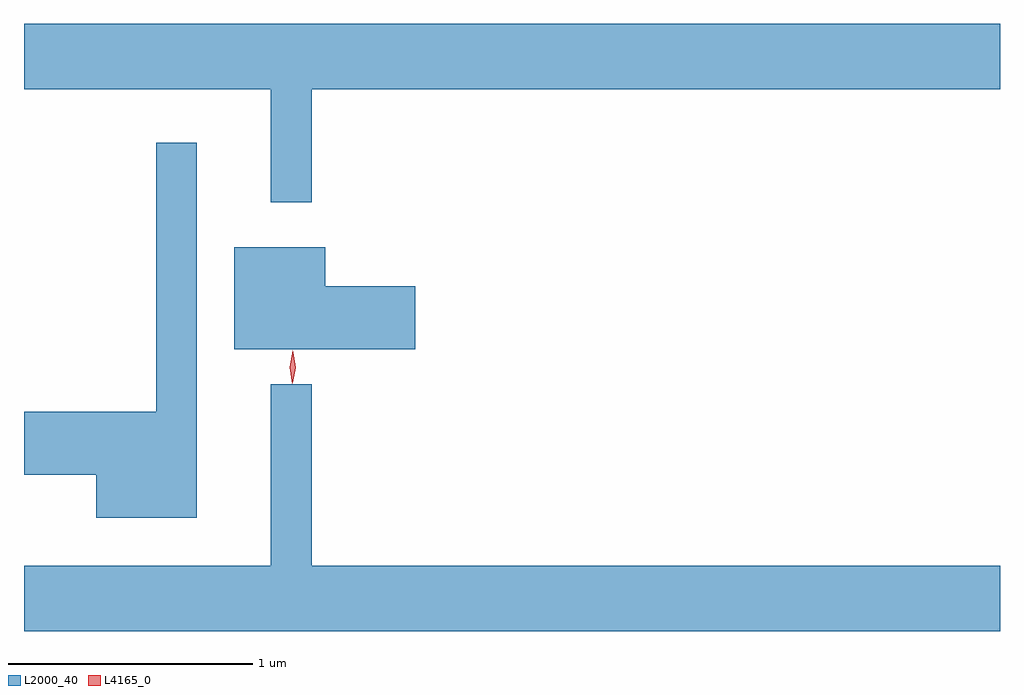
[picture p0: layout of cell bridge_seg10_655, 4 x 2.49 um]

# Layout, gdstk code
import gdstk
lib = gdstk.Library(unit=1e-6, precision=1e-09)
def P(c, l, *ps):  # polygons
    for p in ps: c.add(gdstk.Polygon(p, *l))
L2000_40 = (2000, 40)
L4165_0 = (4165, 0)

bridge_seg10_655 = lib.new_cell('bridge_seg10_655')
P(bridge_seg10_655, L2000_40, [(1011.309,2098.376),(1014.13,2098.376),(1014.13,2098.644),(1010.13,2098.644),(1010.13,2098.376),(1011.141,2098.376),(1011.141,2097.913),(1011.309,2097.913)],
  [(1010.839,2098.158),(1010.671,2098.158),(1010.671,2097.054),(1010.13,2097.054),(1010.13,2096.796),(1010.426,2096.796),(1010.426,2096.621),(1010.839,2096.621)],
  [(1011.734,2097.569),(1011.364,2097.569),(1011.364,2097.729),(1010.991,2097.729),(1010.991,2097.311),(1011.734,2097.311)],
  [(1014.13,2096.424),(1011.309,2096.424),(1011.309,2097.168),(1011.141,2097.168),(1011.141,2096.424),(1010.13,2096.424),(1010.13,2096.156),(1014.13,2096.156)])
P(bridge_seg10_655, L4165_0, [(1011.231,2097.173),(1011.223,2097.236),(1011.233,2097.299),(1011.234,2097.3),(1011.234,2097.299),(1011.243,2097.236),(1011.232,2097.173),(1011.232,2097.173)],
  [(1011.229,2097.17),(1011.229,2097.17),(1011.22,2097.238),(1011.231,2097.305),(1011.231,2097.306),(1011.232,2097.305),(1011.24,2097.238),(1011.23,2097.17)])

lib.write_gds('bridge_seg10_655.gds')
